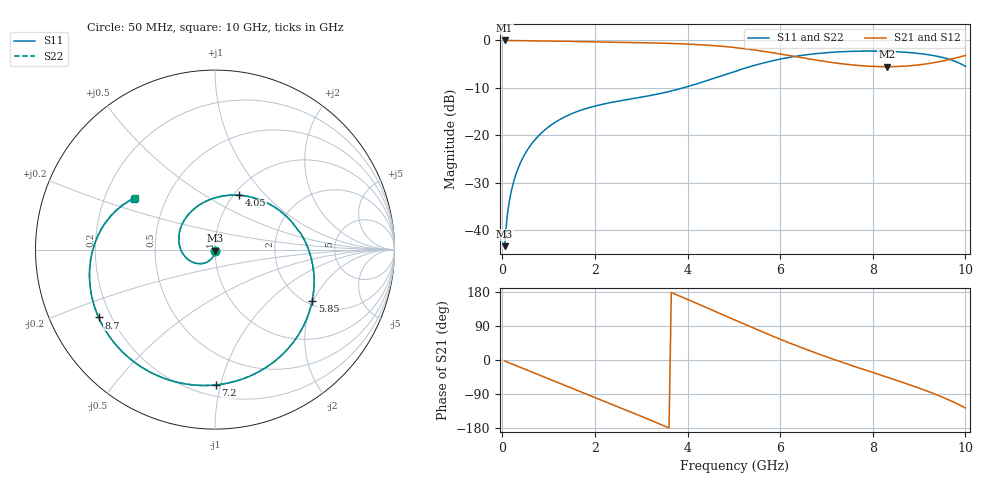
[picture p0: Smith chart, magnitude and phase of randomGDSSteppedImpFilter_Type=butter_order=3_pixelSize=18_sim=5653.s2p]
! freq	dB(S11)	phase(S11)	dB(S12)	phase(S12)
!  dB(S21)	phase(S21)	dB(S22)	phase(S22)
!S-par simulation data
#  GHz  S  DB  R 50
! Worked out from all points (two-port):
!   200 points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, 50 MHz to 10 GHz, reference 50 ohm
!   highest |S21| = 0.00 dB at 50 MHz (marker M1); lowest = -5.5 dB at 8.3 GHz (marker M2)
!   |S21| within 3 dB of the highest: start of sweep to 6.089 GHz
!   lowest |S11| = -43.4 dB at 50 MHz (marker M3), VSWR 1.01, Z = 50 - j0.677 ohm
!   |S11| at or under -10 dB: start of sweep to 3.907 GHz
!   |S22| runs from -43.4 to -2.2 dB; largest |S21 - S12| = 0
!   S11 on the Smith chart (normalised r, x): 50 MHz: 1.00, -0.01; 4.05 GHz: 1.06, +0.72; 5.85 GHz: 2.13, -1.96; 7.2 GHz: 0.28, -0.97; 8.7 GHz: 0.15, -0.26; 10 GHz: 0.33, +0.26
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0.05  -43.39 -91.2  -0.00 -2.5  -0.00 -2.5  -43.39 -91.2
0.1  -37.47 -94.1  -0.01 -5.0  -0.01 -5.0  -37.47 -94.1
0.2  -31.54 -99.7  -0.02 -10.0  -0.02 -10.0  -31.54 -99.7
0.5  -23.76 -115.4  -0.05 -24.9  -0.05 -24.9  -23.76 -115.4
1.15  -17.22 -147.8  -0.15 -57.0  -0.15 -57.0  -17.22 -147.9
1.75  -14.54 -177.5  -0.26 -86.5  -0.26 -86.5  -14.54 -177.5
2.5  -12.82 145.4  -0.38 -123.5  -0.38 -123.5  -12.82 145.2
2.95  -12.05 122.8  -0.46 -146.0  -0.46 -146.0  -12.05 122.6
3.4  -11.22 99.9  -0.56 -168.9  -0.56 -168.9  -11.22 99.7
4.05  -9.60 66.1  -0.79 157.3  -0.79 157.3  -9.60 66.0
4.6  -7.89 37.1  -1.12 128.1  -1.12 128.1  -7.89 36.9
5.05  -6.49 13.5  -1.55 103.8  -1.55 103.8  -6.50 13.4
5.45  -5.25 -7.6  -2.02 83.0  -2.02 83.0  -5.25 -7.7
5.85  -4.26 -27.9  -2.62 62.4  -2.62 62.4  -4.26 -28.1
6.7  -2.87 -68.2  -4.02 21.7  -4.02 21.7  -2.87 -68.3
7.2  -2.45 -89.7  -4.76 -0.2  -4.76 -0.2  -2.45 -89.9
7.75  -2.26 -112.1  -5.33 -22.9  -5.33 -22.9  -2.26 -112.2
8.3  -2.30 -133.8  -5.54 -45.0  -5.54 -45.0  -2.30 -134.0
8.35  -2.31 -135.7  -5.54 -47.0  -5.54 -47.0  -2.32 -135.9
8.7  -2.49 -149.8  -5.41 -61.4  -5.41 -61.4  -2.49 -150.0
9.4  -3.35 179.8  -4.55 -92.8  -4.55 -92.8  -3.36 179.5
10  -5.47 147.7  -3.16 -126.6  -3.16 -126.6  -5.48 147.2
